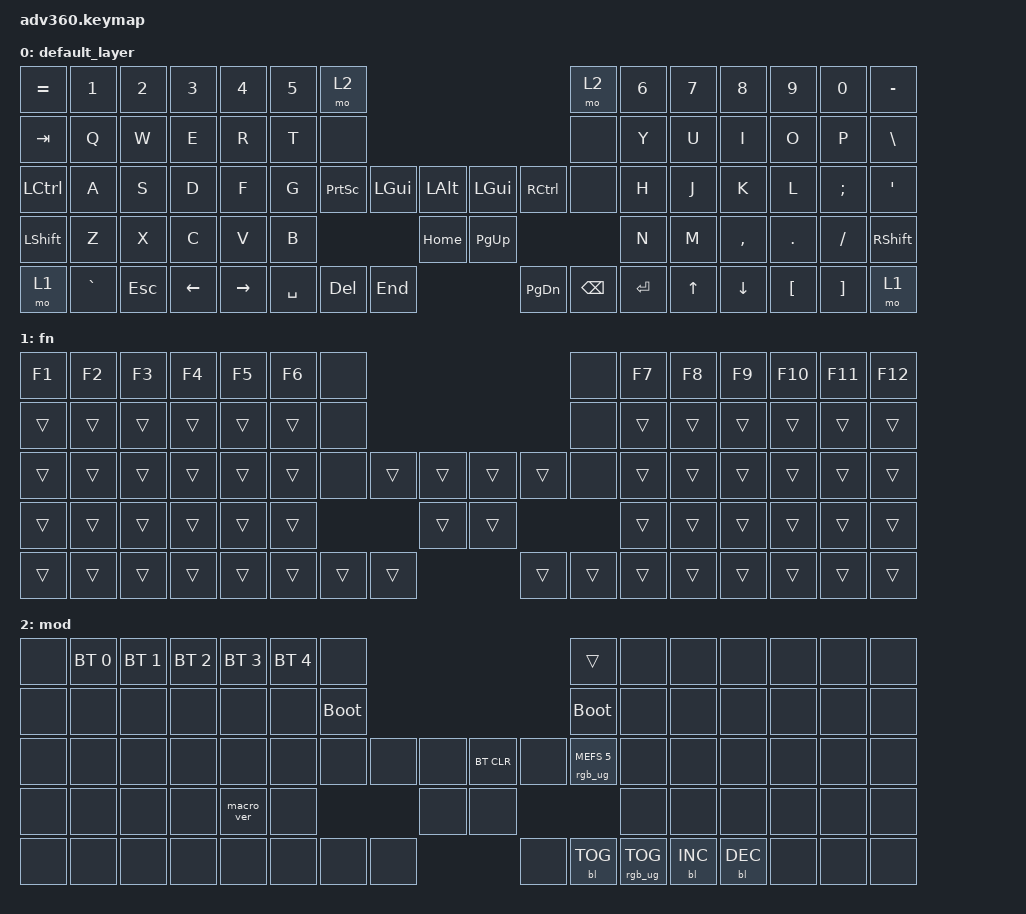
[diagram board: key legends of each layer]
#include <behaviors.dtsi>
#include <dt-bindings/zmk/keys.h>
#include <dt-bindings/zmk/bt.h>
#include <dt-bindings/zmk/rgb.h>
#include <dt-bindings/zmk/backlight.h>

/ {
    behaviors {
      #include "macros.dtsi"
      #include "version.dtsi"
      #ifndef VERSION_MACRO
      macro_ver: macro_ver {
        compatible = "zmk,behavior-macro";
        label = "macro_version";
        #binding-cells = <0>;
        bindings = <&kp RET>;
      };
      #endif

      hm: homerow_mods {
          compatible = "zmk,behavior-hold-tap";
          label = "HOMEROW_MODS";
          #binding-cells = <2>;
          tapping-term-ms = <200>;
          quick_tap_ms = <175>;
          flavor = "tap-preferred";
          bindings = <&kp>, <&kp>;
      };
    };

  keymap {
    compatible = "zmk,keymap";

    default_layer {
      bindings = <
        &kp EQUAL &kp N1    &kp N2   &kp N3   &kp N4     &kp N5 &mo 2                                                            &mo 2 &kp N6 &kp N7 &kp N8    &kp N9   &kp N0   &kp MINUS
        &kp TAB   &kp Q     &kp W    &kp E    &kp R      &kp T  &none                                                            &none &kp Y  &kp U  &kp I     &kp O    &kp P    &kp BSLH
        &kp LCTRL &kp A     &kp S    &kp D    &kp F      &kp G  &kp PRINTSCREEN &kp LGUI  &kp LALT &kp LGUI  &kp RCTRL           &none &kp H  &kp J  &kp K     &kp L    &kp SEMI &kp SQT
        &kp LSHFT &kp Z     &kp X    &kp C    &kp V      &kp B                            &kp HOME &kp PG_UP                           &kp N  &kp M  &kp COMMA &kp DOT  &kp FSLH &kp RSHFT
        &mo 1     &kp GRAVE &kp ESC  &kp LEFT &kp RIGHT                &kp SPACE &kp DEL  &kp END  &kp PG_DN &kp BSPC  &kp ENTER              &kp UP &kp DOWN  &kp LBKT &kp RBKT &mo 1
      >;
    };
    fn {
      bindings = <
        &kp F1 &kp F2 &kp F3 &kp F4 &kp F5 &kp F6  &none                                           &none &kp F7 &kp F8 &kp F9 &kp F10 &kp F11 &kp F12
        &trans &trans &trans &trans &trans &trans  &none                                           &none &trans &trans &trans &trans  &trans  &trans
        &trans &trans &trans &trans &trans &trans  &none        &trans &trans &trans &trans        &none &trans &trans &trans &trans  &trans  &trans
        &trans &trans &trans &trans &trans &trans                      &trans &trans                     &trans &trans &trans &trans  &trans  &trans
        &trans &trans &trans &trans &trans               &trans &trans &trans &trans &trans &trans              &trans &trans &trans  &trans  &trans
      >;
    };
    mod {
      bindings = <
        &none &bt BT_SEL 0 &bt BT_SEL 1 &bt BT_SEL 2 &bt BT_SEL 3 &bt BT_SEL 4 &none                                                                     &trans                 &none        &none        &none        &none &none &none
        &none &none        &none        &none        &none        &none        &bootloader                                                               &bootloader            &none        &none        &none        &none &none &none
        &none &none        &none        &none        &none        &none        &none                   &none &none &bt BT_CLR &none                      &rgb_ug RGB_MEFS_CMD 5 &none        &none        &none        &none &none &none
        &none &none        &none        &none        &macro_ver   &none                                      &none &none                                                        &none        &none        &none        &none &none &none
        &none &none        &none        &none        &none                                       &none &none &none &none      &bl BL_TOG &rgb_ug RGB_TOG                                     &bl BL_INC   &bl BL_DEC   &none &none &none
      >;
    };
  };
};
